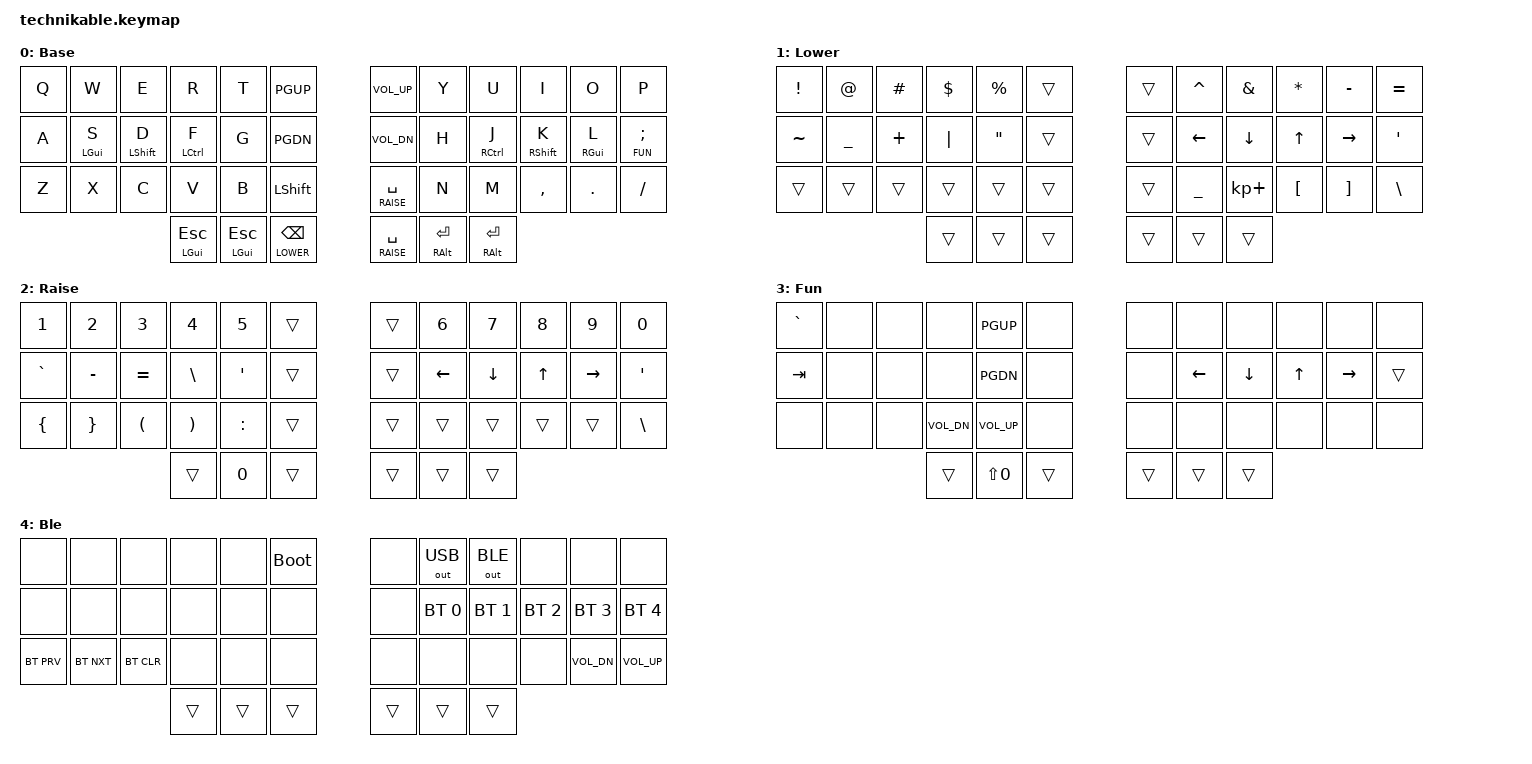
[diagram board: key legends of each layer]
/*
 * Copyright (c) 2022 Pete Johanson
 *
 * SPDX-License-Identifier: MIT
 */

#include <behaviors.dtsi>
#include <dt-bindings/zmk/keys.h>
#include <dt-bindings/zmk/bt.h>
#include <dt-bindings/zmk/outputs.h>
#include <dt-bindings/zmk/matrix_transform.h>


//#define TBLE_ORTHO   true
// #define TBLE_MIT     true
#define TBLE_DUAL_2U true

#define BASE 0
#define LOWER 1
#define RAISE 2
#define FUN 3
#define BLE 4

#define BT(n) BT_SEL n

// Using layer taps on thumbs, having quick tap as well helps w/ repeating space/backspace
&lt { quick_tap_ms = <200>; };

&caps_word {
	continue-list = <UNDERSCORE MINUS BSPC LSHFT RSHFT>;
};


/ {

    chosen {
       zmk,matrix_transform =
#ifdef TBLE_DUAL_2U
                       &dual_2u_transform;
#elif defined(TBLE_MIT)
                       &mit_transform;
#else
                       &ortho_transform;
#endif
    };

        behaviors {
		hl: homerow_mods_left {
			compatible = "zmk,behavior-hold-tap";
			label = "homerow mods left";
			#binding-cells = <2>;
			flavor = "balanced";
			tapping-term-ms = <200>;
			quick-tap-ms = <100>;
			// global-quick-tap;
			bindings = <&kp>, <&kp>;
			// opposite side hand keys
			hold-trigger-key-positions = <RC(0,7) RC(0,8) RC(0,9) RC(0,10) RC(0,11)
                                                      RC(1,7) RC(1,8) RC(1,9) RC(1,10) RC(1,11)
                                                      RC(2,7) RC(2,8) RC(2,9) RC(2,10) RC(2,11)>;
		};

		hr: homerow_mods_right {
			compatible = "zmk,behavior-hold-tap";
			label = "homerow mods right";
			#binding-cells = <2>;
			flavor = "balanced";
			tapping-term-ms = <200>;
			quick-tap-ms = <100>;
			// global-quick-tap;
			bindings = <&kp>, <&kp>;
			// opposite side hand keys
			hold-trigger-key-positions = <RC(0,0) RC(0,1) RC(0,2) RC(0,3) RC(0,4)
                                                      RC(1,0) RC(1,1) RC(1,2) RC(1,3) RC(1,4)
                                                      RC(2,0) RC(2,1) RC(2,2) RC(2,3) RC(2,4)>;
		};

		hs: homerow_mods_shift {
			compatible = "zmk,behavior-hold-tap";
			label = "homerow mods shift";
			#binding-cells = <2>;
			flavor = "balanced";
			tapping-term-ms = <200>;
			quick-tap-ms = <100>;
			bindings = <&kp>, <&kp>;
		};
	};
        

    /* conditional_layers { */
    /*     compatible = "zmk,conditional-layers"; */
    /*     tri_layer { */
    /*         if-layers = <NAV_L NUM_L>; */
    /*         then-layer = <SYM_L>; */
    /*     }; */
    /* }; */

    keymap {
        compatible = "zmk,keymap";

        base_layer {
            label = "Base";
            bindings = <
 &kp Q   &kp W       &kp E         &kp R         &kp T           &kp PGUP     &kp C_VOL_UP     &kp Y            &kp U          &kp I        &kp O      &kp P         
 &kp A   &hl LGUI S  &hs LSHFT D   &hs LCTRL F   &kp G           &kp PGDN     &kp C_VOL_DN     &kp H            &hs RCTRL J    &hs RSHFT K  &hr RGUI L &lt FUN SEMI      
 &kp Z   &kp X       &kp C         &kp V         &kp B           &kp LSHFT    &lt RAISE SPACE  &kp N            &kp M          &kp COMMA    &kp DOT    &kp FSLH 
//#ifdef TBLE_ORTHO
                        &mt LGUI ESC &mt LGUI ESC    &lt LOWER  BSPC  &lt RAISE SPACE &mt RALT RET &mt RALT RET
/* #elif defined(TBLE_MIT) */
/*                  &kp LCTRL  &kp LALT    &mo NAV_L          &kp SPACE                   &mo NUM_L      &kp RALT    &kp RCTRL */
/* #else // TBLE_DUAL_2U */
/*                  &kp LCTRL  &mt LGUI ESC  &lt LOWER BSPC             &lt NUM_L SPACE              &kp RALT    &kp RCTRL */
/* #endif */
            >;
        };

        lower_layer {
            label = "Lower";
            bindings = <
&kp EXCL        &kp AT          &kp HASH        &kp DLLR        &kp PRCNT     &trans    &trans       &kp CARET       &kp AMPS                &kp STAR                &kp MINUS       &kp EQUAL
&kp TILDE	&kp UNDER	&kp PLUS	&kp PIPE  	&kp DQT       &trans    &trans       &kp LEFT	&kp DOWN		&kp UP		        &kp RIGHT       &kp SQT
&trans  	&trans		&trans		&trans		&trans        &trans    &trans       &kp UNDER	&kp KP_PLUS		&kp LBKT		&kp RBKT	&kp BSLH
#ifdef TBLE_DUAL_2U
                      &trans     &trans              &trans                    &trans       &trans         &trans
#elif defined(TBLE_MIT)
                      &trans     &trans      &trans                &trans             &trans      &trans   &trans
#else
                      &trans     &trans      &trans          &trans       &trans    &trans  &trans         &trans
#endif // ORTHO
            >;
        };

        raise_layer {
            label = "Raise";
            bindings = <
&kp N1   	&kp N2      &kp N3	&kp N4		&kp N5	   &trans   &trans     &kp N6  	&kp N7		&kp N8		&kp N9		&kp N0
&kp GRAVE       &kp MINUS   &kp EQUAL	&kp BSLH	&kp APOS   &trans   &trans     &kp LEFT  &kp DOWN	&kp UP  	&kp RIGHT	&kp SQT
&kp LBRC       	&kp RBRC    &kp LPAR    &kp RPAR	&kp COLON  &trans   &trans     &trans  	&trans		&trans		&trans		&kp BSLH
#ifdef TBLE_DUAL_2U
                     &trans     &kp N0              &trans                 &trans            &trans         &trans
#elif defined(TBLE_MIT)
                     &trans     &kp N0      &trans           &none            &kp ESC        &kp DEL      &trans
#else
                     &trans     &trans      &trans          &trans       &trans    &trans  &trans         &trans
#endif
            >;
        };

        fun_layer {
            label = "Fun";
            bindings = <
&kp GRAVE       &none	&none	&none          &kp PGUP	      &none   &none          &none      &none           &none   &none       &none
&kp TAB  	&none	&none	&none	       &kp PGDN       &none   &none          &kp LEFT	&kp DOWN	&kp UP	&kp RIGHT   &trans
&none		&none	&none	&kp C_VOL_DN   &kp C_VOL_UP   &none   &none          &none   	&none           &none   &none       &none
#ifdef TBLE_DUAL_2U
                      &trans     &kp LS(N0)              &trans                    &trans       &trans         &trans
#elif defined(TBLE_MIT)
                      &trans     &kp LS(N0)      &trans                &trans             &trans      &trans   &trans
#else
                      &trans     &trans      &trans          &trans       &trans    &trans  &trans         &trans
#endif
            >;
        };

        ble_layer {
            label = "Ble";
            bindings = <
&none    	&none	        &none	   &none         	&none	 &bootloader	&none        &out OUT_USB	&out OUT_BLE	&none		&none			&none
&none	        &none	        &none	   &none	        &none    &none  	&none	     &bt BT_SEL 0	&bt BT_SEL 1	&bt BT_SEL 2	&bt BT_SEL 3     	&bt BT_SEL 4
&bt BT_PRV	&bt BT_NXT	&bt BT_CLR &none         	&none	 &none          &none        &none         	&none		&none	        &kp C_VOL_DN            &kp C_VOL_UP
#ifdef TBLE_DUAL_2U
                      &trans     &trans              &trans                    &trans       &trans         &trans
#elif defined(TBLE_MIT)
                      &trans     &kp LS(N0)      &trans                &trans             &trans      &trans   &trans
#else
                      &trans     &trans      &trans          &trans       &trans    &trans  &trans         &trans
#endif
            >;
        };

    };


	combos {
		compatible = "zmk,combos";
		combo_bleLayer {
			timeout-ms = <50>;
			key-positions = <38 39>;
			bindings = <&mo BLE>;
		};
		combo_caps-word {
			timeout-ms = <50>;
			key-positions = <15 20>;               
			bindings = <&caps_word>;
		};
		/* combo_caps-word { */
		/* 	timeout-ms = <50>; */
		/* 	key-positions = <RC(1,3) RC(1,8)>; */
		/* 	bindings = <&caps_word>; */
		/* }; */
	};

};


